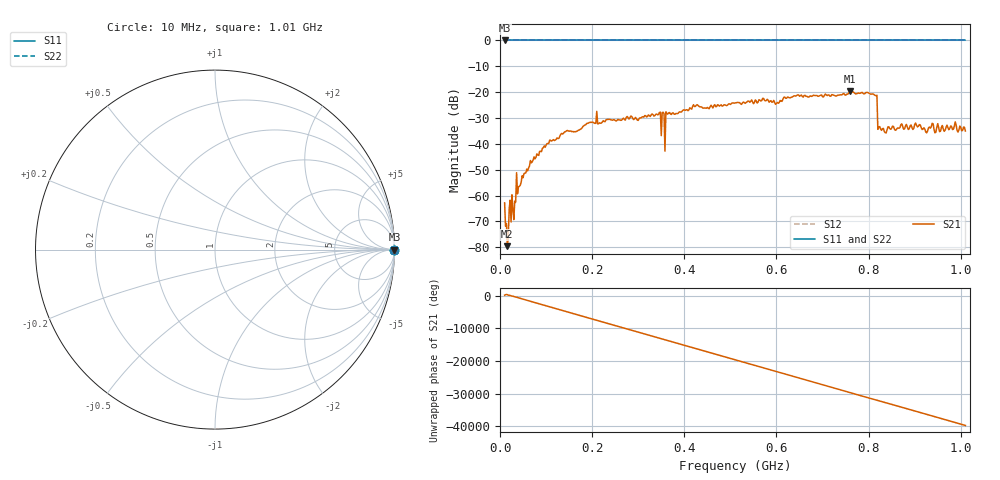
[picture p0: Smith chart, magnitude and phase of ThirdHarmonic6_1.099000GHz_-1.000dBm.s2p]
! 8/16/2025 10:19:17 AM
! C:\ANRITSUVNA\TEMP\TEMP.S2P
! CHANNEL.1
! TR.MEASUREMENT
! RAW.DATA
! RF.CORRECTION.OFF
! AVERAGING.OFF
! IF.BANDWIDTH: 5KHZ
! SWEEPTYPE:  FREQ.SWEEP(Linear)
! Reference Plane Port Info
! PORT:  PORT1  PORT2
! DISTANCE:  0  m  0  m
! TIME:  0  s  0  s
! PHASE.OFFSET:  0  deg.  0  deg.
! LOSS:  0  dB  0  dB
! REF.LOSS:  0  dB  0  dB
! REF.FREQ:  0  Hz  0  Hz
! Power Info
! POWER:  -20  dBm  -20  dBm
! EFF.POWER:  -20  dBm  -20  dBm
! SOURCE.ATTEN:  0  dB  0  dB
! TEST.ATTEN:  0  dB  0  dB
# GHZ S RI R 50.0
! FREQ.GHZ  S11RE  S11IM  S21RE  S21IM  S12RE  S12IM  S22RE  S22IM
!; PortSelection: Port_12
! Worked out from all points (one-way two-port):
!   501 points, 10 MHz to 1.01 GHz, reference 50 ohm
!   highest |S21| = -19.69 dB at 760 MHz (marker M1); lowest = -79.6 dB at 16 MHz (marker M2)
!   lowest |S11| = 0.0 dB at 10 MHz (marker M3)
!   |S11| at or under -10 dB: nowhere
!   |S22| runs from 0.0 to 0.0 dB; largest |S21 - S12| = 1.1
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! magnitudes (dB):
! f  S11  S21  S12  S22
! 10 MHz  0.0  -62.8  0.0  0.0
! 16 MHz  0.0  -79.6  0.0  0.0
! 20 MHz  0.0  -65.2  0.0  0.0
! 24 MHz  0.0  -70.2  0.0  0.0
! 28 MHz  0.0  -65.6  0.0  0.0
! 40 MHz  0.0  -56.6  0.0  0.0
! 70 MHz  0.0  -47.0  0.0  0.0
! 112 MHz  0.0  -38.9  0.0  0.0
! 178 MHz  0.0  -33.9  0.0  0.0
! 206 MHz  0.0  -32.1  0.0  0.0
! 344 MHz  0.0  -28.7  0.0  0.0
! 352 MHz  0.0  -27.9  0.0  0.0
! 354 MHz  0.0  -27.8  0.0  0.0
! 362 MHz  0.0  -28.2  0.0  0.0
! 364 MHz  0.0  -28.5  0.0  0.0
! 510 MHz  0.0  -24.2  0.0  0.0
! 678 MHz  0.0  -21.5  0.0  0.0
! 760 MHz  0.0  -19.7  0.0  0.0
! 814 MHz  0.0  -21.2  0.0  0.0
! 824 MHz  0.0  -33.3  0.0  0.0
! 844 MHz  0.0  -33.5  0.0  0.0
! 1.01 GHz  0.0  -35.0  0.0  0.0
